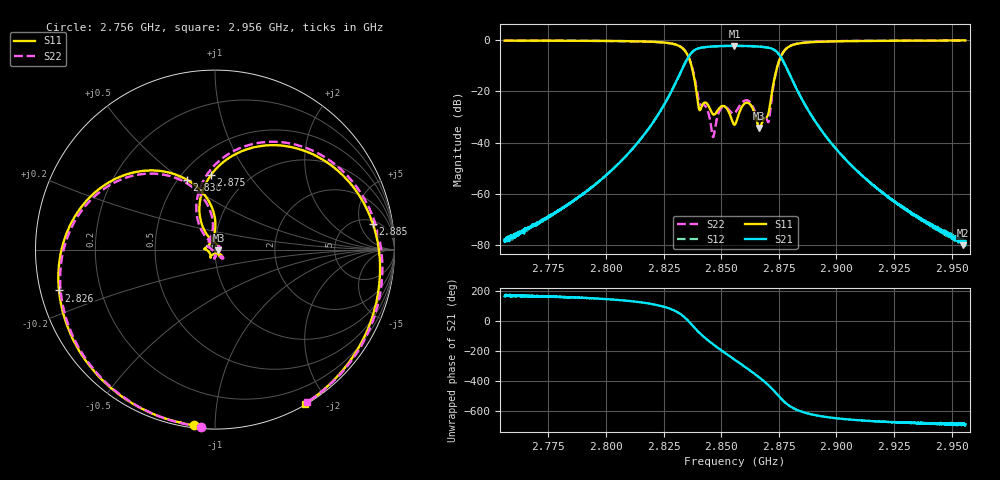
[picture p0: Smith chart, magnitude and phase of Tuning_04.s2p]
!Agilent Technologies,N5242A,MY47420273,A.09.90.17
!Agilent N5242A: A.09.90.17
!Date: Wednesday, November 29, 2023 13:39:20
!Correction: S11(Full 2 Port(1,4))
!S41(Full 2 Port(1,4))
!S14(Full 2 Port(1,4))
!S44(Full 2 Port(1,4))
!S2P File: Measurements: S11, S41, S14, S44:
# Hz S  RI  R 50
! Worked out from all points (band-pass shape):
!   3201 points, 2.756 GHz to 2.956 GHz, reference 50 ohm
!   highest |S21| = -2.16 dB at 2.856 GHz (marker M1); lowest = -80.2 dB at 2.955 GHz (marker M2)
!   |S21| within 3 dB of the highest: 2.837 GHz to 2.875 GHz (37.96 MHz wide, 1.33 % of centre)
!   lowest |S11| = -34.3 dB at 2.867 GHz (marker M3), VSWR 1.04, Z = 51.9 - j0.32 ohm
!   |S11| at or under -10 dB: 2.837 GHz to 2.874 GHz (37.34 MHz wide, 1.31 % of centre)
!   |S22| runs from -37.9 to -0.1 dB; largest |S21 - S12| = 0.00086
!   S11 on the Smith chart (normalised r, x): 2.756 GHz: 0.01, -0.89; 2.826 GHz: 0.05, -0.13; 2.836 GHz: 0.55, +0.52; 2.875 GHz: 0.68, +0.68; 2.885 GHz: 6, +8; 2.956 GHz: 0.01, -1.74
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2.756e9  -0.1158 -0.9793  -0.000122 3.11e-05  -0.000121 3.92e-05  -0.0808 -0.9857
2.789375e9  -0.345 -0.9154  -0.000855 0.000405  -0.000845 0.000408  -0.3072 -0.9307
2.822688e9  -0.8301 -0.4068  -0.00878 0.0343  -0.00876 0.0343  -0.8076 -0.4452
2.826e9  -0.8693 -0.2278  -0.00116 0.0631  -0.00107 0.0631  -0.8551 -0.2695
2.831562e9  -0.7506 0.2297  0.1157 0.1597  0.1159 0.1596  -0.762 0.1892
2.83625e9  -0.1559 0.3889  0.5033 -0.0692  0.5032 -0.0696  -0.1881 0.3862
2.840375e9  -0.025 0.0381  0.1727 -0.6798  0.172 -0.6799  -0.0269 0.0591
2.84275e9  -0.0603 0.00437  -0.2359 -0.6957  -0.2366 -0.6954  -0.049 0.022
2.846438e9  -0.033 -0.0142  -0.6831 -0.3341  -0.6834 -0.3335  -0.0112 -0.00624
2.848938e9  -0.0236 -0.039  -0.7691 0.0312  -0.7692 0.0318  0.000397 -0.0385
2.85575e9  0.0033 -0.022  -0.1945 0.7548  -0.1938 0.7549  0.0157 -0.0338
2.856e9  0.00643 -0.0217  -0.1594 0.7629  -0.1587 0.7631  0.0183 -0.0334
2.861312e9  0.0395 -0.0455  0.5468 0.5469  0.5472 0.5465  0.0433 -0.0509
2.866562e9  0.0191 -0.00308  0.7296 -0.1929  0.7293 -0.1937  0.0273 -0.00523
2.870625e9  -0.00148 0.0392  0.2701 -0.6618  0.2695 -0.6621  0.00492 0.0252
2.875312e9  -0.0228 0.4152  -0.417 -0.3045  -0.4174 -0.3041  -0.0514 0.4075
2.87875e9  0.4368 0.5685  -0.2589 0.0637  -0.2588 0.064  0.4113 0.5929
2.885438e9  0.88 0.142  -0.028 0.059  -0.028 0.059  0.8825 0.176
2.889375e9  0.9191 -0.0717  -0.00536 0.0322  -0.00532 0.0322  0.9301 -0.0411
2.922688e9  0.6748 -0.7138  0.000529 0.000636  0.000551 0.00066  0.6937 -0.6997
2.955062e9  0.5049 -0.8567  8.08e-05 5.44e-05  9.25e-05 6.04e-05  0.5183 -0.8454
2.956e9  0.5012 -0.859  8.22e-05 5.81e-05  7.64e-05 6.41e-05  0.5144 -0.8478
